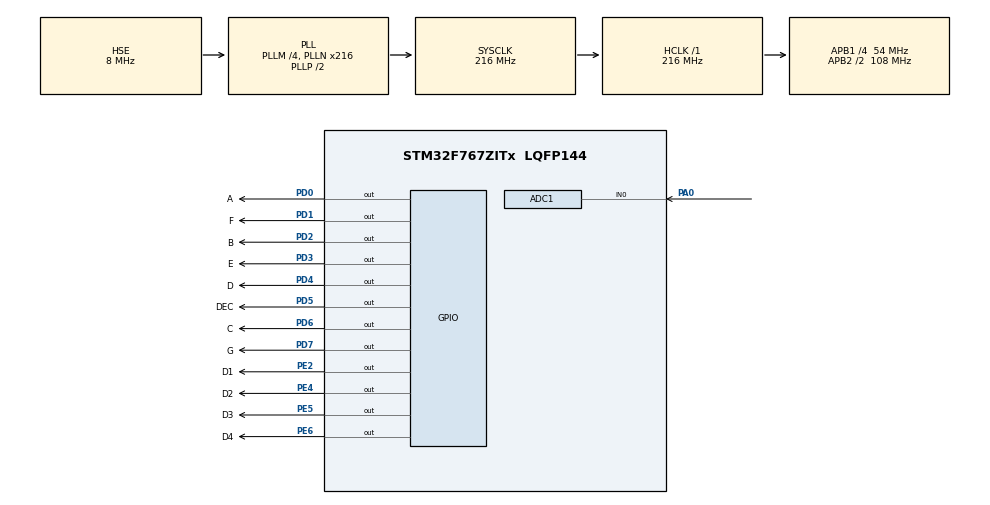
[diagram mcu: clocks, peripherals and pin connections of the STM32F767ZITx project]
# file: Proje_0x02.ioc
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ADC1.Channel-0\#ChannelRegularConversion=ADC_CHANNEL_0
ADC1.ContinuousConvMode=ENABLE
ADC1.NbrOfConversionFlag=1
ADC1.Rank-0\#ChannelRegularConversion=1
ADC1.SamplingTime-0\#ChannelRegularConversion=ADC_SAMPLETIME_3CYCLES
ADC1.master=1
Mcu.Family=STM32F7
Mcu.Name=STM32F767ZITx
Mcu.Package=LQFP144
NVIC.PriorityGroup=NVIC_PRIORITYGROUP_4
PA0/WKUP.Signal=ADCx_IN0
PA13.Mode=Serial_Wire
PA13.Signal=SYS_JTMS-SWDIO
PA14.Mode=Serial_Wire
PA14.Signal=SYS_JTCK-SWCLK
PD0.GPIO_Label=A
PD0.Signal=GPIO_Output
PD1.GPIO_Label=F
PD1.Signal=GPIO_Output
PD2.GPIO_Label=B
PD2.Signal=GPIO_Output
PD3.GPIO_Label=E
PD3.Signal=GPIO_Output
PD4.GPIO_Label=D
PD4.Signal=GPIO_Output
PD5.GPIO_Label=DEC
PD5.Signal=GPIO_Output
PD6.GPIO_Label=C
PD6.Signal=GPIO_Output
PD7.GPIO_Label=G
PD7.Signal=GPIO_Output
PE2.GPIO_Label=D1
PE2.Signal=GPIO_Output
PE4.GPIO_Label=D2
PE4.Signal=GPIO_Output
PE5.GPIO_Label=D3
PE5.Signal=GPIO_Output
PE6.GPIO_Label=D4
PE6.Signal=GPIO_Output
PH0/OSC_IN.Mode=HSE-External-Oscillator
PH0/OSC_IN.Signal=RCC_OSC_IN
PH1/OSC_OUT.Mode=HSE-External-Oscillator
PH1/OSC_OUT.Signal=RCC_OSC_OUT
ProjectManager.HeapSize=0x200
ProjectManager.StackSize=0x400
ProjectManager.TargetToolchain=STM32CubeIDE
RCC.48MHZClocksFreq_Value=24000000
RCC.AHBFreq_Value=216000000
RCC.APB1CLKDivider=RCC_HCLK_DIV4
RCC.APB1Freq_Value=54000000
RCC.APB1TimFreq_Value=108000000
RCC.APB2CLKDivider=RCC_HCLK_DIV2
RCC.APB2Freq_Value=108000000
RCC.APB2TimFreq_Value=216000000
RCC.CortexFreq_Value=216000000
RCC.HCLKFreq_Value=216000000
RCC.HSE_VALUE=8000000
RCC.HSI_VALUE=16000000
RCC.LSE_VALUE=32768
RCC.PLLM=4
RCC.PLLMUL=RCC_PLL_MUL9
RCC.PLLN=216
RCC.PLLQ=4
RCC.PLLSourceVirtual=RCC_PLLSOURCE_HSE
RCC.PRESCALERUSB=RCC_USBCLKSOURCE_PLL_DIV1_5
RCC.SYSCLKFreq_VALUE=216000000
RCC.SYSCLKSource=RCC_SYSCLKSOURCE_PLLCLK
RCC.SYSCLKSourceVirtual=RCC_SYSCLKSOURCE_PLLCLK
RCC.USBFreq_Value=108000000
RCC.VCOOutputFreq_Value=432000000
SH.ADCx_IN0.0=ADC1_IN0,IN0
board=NUCLEO-F767ZI

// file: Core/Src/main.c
/* USER CODE BEGIN Header */
/**
  ******************************************************************************
  * @file           : main.c
  * @brief          : Main program body
  ******************************************************************************
  * @attention
  *
  * Copyright (c) 2025 STMicroelectronics.
  * All rights reserved.
  *
  * This software is licensed under terms that can be found in the LICENSE file
  * in the root directory of this software component.
  * If no LICENSE file comes with this software, it is provided AS-IS.
  *
  ******************************************************************************
  */
/* USER CODE END Header */
#include "main.h"

/* USER CODE BEGIN PM */
#define SIZE 		20

/* USER CODE END PM */

ADC_HandleTypeDef hadc1;

void SystemClock_Config(void);
static void MX_GPIO_Init(void);
static void MX_ADC1_Init(void);

/* USER CODE BEGIN 0 */
uint32_t adc_buffer[SIZE];
uint8_t sample_index = 0;
float sum = 0;
float filtered_adc = 0;
float temperature = 0;

volatile uint8_t sevenSegment[] = {
		0xA0,
		0xBB,
		0x62,
		0x2A,
		0x39,
		0x2C,
		0x24,
		0xBA,
		0x20,
		0x28,
		0xFA,
};

void WriteDisplay(uint16_t number)
{
	uint16_t dig2,dig3,dig4;
    dig4 = number%10;
    dig3 = (number/10)%10;
    dig2 = (number/100)%10;
    HAL_GPIO_WritePin(GPIOE, D2_Pin, GPIO_PIN_SET);
    HAL_GPIO_WritePin(GPIOE, D1_Pin|D3_Pin|D4_Pin, GPIO_PIN_RESET);
    GPIOD->ODR = (GPIOD->ODR & 0xFF00) | sevenSegment[dig2];
    HAL_Delay(3);
    HAL_GPIO_WritePin(GPIOE, D3_Pin, GPIO_PIN_SET);
    HAL_GPIO_WritePin(GPIOE, D1_Pin|D2_Pin|D4_Pin, GPIO_PIN_RESET);
    GPIOD->ODR = (GPIOD->ODR & 0xFF00) | sevenSegment[dig3];
    HAL_Delay(3);
    HAL_GPIO_WritePin(GPIOE, D4_Pin, GPIO_PIN_SET);
    HAL_GPIO_WritePin(GPIOE, D1_Pin|D2_Pin|D3_Pin, GPIO_PIN_RESET);
    GPIOD->ODR = (GPIOD->ODR & 0xFF00) | sevenSegment[dig4];
    HAL_Delay(3);
}

/* USER CODE END 0 */

int main(void)
{

  /* MCU Configuration--------------------------------------------------------*/

  /* Reset of all peripherals, Initializes the Flash interface and the Systick. */
  HAL_Init();

  /* Configure the system clock */
  SystemClock_Config();

  /* Initialize all configured peripherals */
  MX_GPIO_Init();
  MX_ADC1_Init();

  /* Infinite loop */
  while (1)
  {

    /* USER CODE BEGIN 3 */
	  HAL_ADC_Start(&hadc1);
	      if (HAL_ADC_PollForConversion(&hadc1, 10) == HAL_OK)
	      {
	          adc_buffer[sample_index] = HAL_ADC_GetValue(&hadc1);
	          sample_index++;
	          if (sample_index >= SIZE) {
	              sample_index = 0;
	          }
	          sum = 0;
	          for (int i = 0; i < SIZE; i++) {
	              sum += adc_buffer[i];
	          }
	          filtered_adc = sum / SIZE;
	          float voltage = (filtered_adc * 3300.0) / 4095.0;
	          temperature = voltage / 10.0;
	      }
	      HAL_ADC_Stop(&hadc1);
	      WriteDisplay(temperature);

  }
  /* USER CODE END 3 */
}

void SystemClock_Config(void)
{
  RCC_OscInitTypeDef RCC_OscInitStruct = {0};
  RCC_ClkInitTypeDef RCC_ClkInitStruct = {0};

  /** Configure the main internal regulator output voltage
  */
  __HAL_RCC_PWR_CLK_ENABLE();
  __HAL_PWR_VOLTAGESCALING_CONFIG(PWR_REGULATOR_VOLTAGE_SCALE1);

  /** Initializes the RCC Oscillators according to the specified parameters
  * in the RCC_OscInitTypeDef structure.
  */
  RCC_OscInitStruct.OscillatorType = RCC_OSCILLATORTYPE_HSE;
  RCC_OscInitStruct.HSEState = RCC_HSE_ON;
  RCC_OscInitStruct.PLL.PLLState = RCC_PLL_ON;
  RCC_OscInitStruct.PLL.PLLSource = RCC_PLLSOURCE_HSE;
  RCC_OscInitStruct.PLL.PLLM = 4;
  RCC_OscInitStruct.PLL.PLLN = 216;
  RCC_OscInitStruct.PLL.PLLP = RCC_PLLP_DIV2;
  RCC_OscInitStruct.PLL.PLLQ = 4;
  RCC_OscInitStruct.PLL.PLLR = 2;
  if (HAL_RCC_OscConfig(&RCC_OscInitStruct) != HAL_OK)
  {
    Error_Handler();
  }

  /** Activate the Over-Drive mode
  */
  if (HAL_PWREx_EnableOverDrive() != HAL_OK)
  {
    Error_Handler();
  }

  /** Initializes the CPU, AHB and APB buses clocks
  */
  RCC_ClkInitStruct.ClockType = RCC_CLOCKTYPE_HCLK|RCC_CLOCKTYPE_SYSCLK
                              |RCC_CLOCKTYPE_PCLK1|RCC_CLOCKTYPE_PCLK2;
  RCC_ClkInitStruct.SYSCLKSource = RCC_SYSCLKSOURCE_PLLCLK;
  RCC_ClkInitStruct.AHBCLKDivider = RCC_SYSCLK_DIV1;
  RCC_ClkInitStruct.APB1CLKDivider = RCC_HCLK_DIV4;
  RCC_ClkInitStruct.APB2CLKDivider = RCC_HCLK_DIV2;

  if (HAL_RCC_ClockConfig(&RCC_ClkInitStruct, FLASH_LATENCY_7) != HAL_OK)
  {
    Error_Handler();
  }
}

static void MX_ADC1_Init(void)
{

  ADC_ChannelConfTypeDef sConfig = {0};

  /** Configure the global features of the ADC (Clock, Resolution, Data Alignment and number of conversion)
  */
  hadc1.Instance = ADC1;
  hadc1.Init.ClockPrescaler = ADC_CLOCK_SYNC_PCLK_DIV4;
  hadc1.Init.Resolution = ADC_RESOLUTION_12B;
  hadc1.Init.ScanConvMode = ADC_SCAN_DISABLE;
  hadc1.Init.ContinuousConvMode = ENABLE;
  hadc1.Init.DiscontinuousConvMode = DISABLE;
  hadc1.Init.ExternalTrigConvEdge = ADC_EXTERNALTRIGCONVEDGE_NONE;
  hadc1.Init.ExternalTrigConv = ADC_SOFTWARE_START;
  hadc1.Init.DataAlign = ADC_DATAALIGN_RIGHT;
  hadc1.Init.NbrOfConversion = 1;
  hadc1.Init.DMAContinuousRequests = DISABLE;
  hadc1.Init.EOCSelection = ADC_EOC_SINGLE_CONV;
  if (HAL_ADC_Init(&hadc1) != HAL_OK)
  {
    Error_Handler();
  }

  /** Configure for the selected ADC regular channel its corresponding rank in the sequencer and its sample time.
  */
  sConfig.Channel = ADC_CHANNEL_0;
  sConfig.Rank = ADC_REGULAR_RANK_1;
  sConfig.SamplingTime = ADC_SAMPLETIME_3CYCLES;
  if (HAL_ADC_ConfigChannel(&hadc1, &sConfig) != HAL_OK)
  {
    Error_Handler();
  }

}

static void MX_GPIO_Init(void)
{
  GPIO_InitTypeDef GPIO_InitStruct = {0};

  /* GPIO Ports Clock Enable */
  __HAL_RCC_GPIOE_CLK_ENABLE();
  __HAL_RCC_GPIOH_CLK_ENABLE();
  __HAL_RCC_GPIOA_CLK_ENABLE();
  __HAL_RCC_GPIOD_CLK_ENABLE();

  /*Configure GPIO pin Output Level */
  HAL_GPIO_WritePin(GPIOE, D1_Pin|D2_Pin|D3_Pin|D4_Pin, GPIO_PIN_RESET);

  /*Configure GPIO pin Output Level */
  HAL_GPIO_WritePin(GPIOD, A_Pin|F_Pin|B_Pin|E_Pin
                          |D_Pin|DEC_Pin|C_Pin|G_Pin, GPIO_PIN_RESET);

  /*Configure GPIO pins : D1_Pin D2_Pin D3_Pin D4_Pin */
  GPIO_InitStruct.Pin = D1_Pin|D2_Pin|D3_Pin|D4_Pin;
  GPIO_InitStruct.Mode = GPIO_MODE_OUTPUT_PP;
  GPIO_InitStruct.Pull = GPIO_NOPULL;
  GPIO_InitStruct.Speed = GPIO_SPEED_FREQ_LOW;
  HAL_GPIO_Init(GPIOE, &GPIO_InitStruct);

  /*Configure GPIO pins : A_Pin F_Pin B_Pin E_Pin
                           D_Pin DEC_Pin C_Pin G_Pin */
  GPIO_InitStruct.Pin = A_Pin|F_Pin|B_Pin|E_Pin
                          |D_Pin|DEC_Pin|C_Pin|G_Pin;
  GPIO_InitStruct.Mode = GPIO_MODE_OUTPUT_PP;
  GPIO_InitStruct.Pull = GPIO_NOPULL;
  GPIO_InitStruct.Speed = GPIO_SPEED_FREQ_LOW;
  HAL_GPIO_Init(GPIOD, &GPIO_InitStruct);

}

void Error_Handler(void)
{
  __disable_irq();
  while (1)
  {
  }
}
